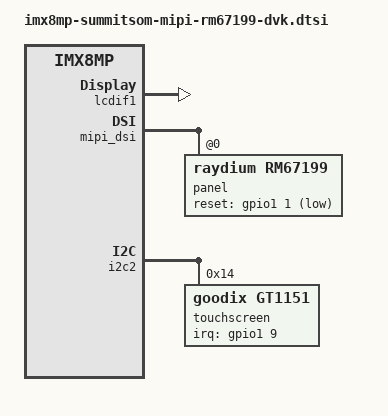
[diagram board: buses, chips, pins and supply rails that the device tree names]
// SPDX-License-Identifier: (GPL-2.0+ OR MIT)
/*
 * Copyright 2021 Laird Connectivity
 */

/* For MX8_DSI_OLED1A display */

&lcdif1 {
	status = "okay";
};

&mipi_dsi {
	status = "okay";

	panel@0 {
		compatible = "raydium,rm67199";
		reg = <0>;
		pinctrl-0 = <&pinctrl_mipi_dsi_en>;
		reset-gpio = <&gpio1 1 GPIO_ACTIVE_LOW>;
		dsi-lanes = <4>;
		video-mode = <2>;	/* 0: burst mode
					 * 1: non-burst mode with sync event
					 * 2: non-burst mode with sync pulse
					 */
		panel-width-mm = <68>;
		panel-height-mm = <121>;
		status = "okay";
	};
};

&i2c2 {
	touchscreen@14 {
		compatible = "goodix,gt1151";
		reg = <0x14>;
		pinctrl-names = "default";
		pinctrl-0 = <&pinctrl_i2c2_synaptics_dsx_io>;
		interrupt-parent = <&gpio1>;
		interrupts = <9 IRQ_TYPE_EDGE_FALLING>;
		irq-gpios = <&gpio1 9 GPIO_ACTIVE_HIGH>;
		edge-failling-trigger;
		touchscreen-size-x = <1080>;
		touchscreen-size-y = <1920>;
	};
};

&iomuxc {
	pinctrl_mipi_dsi_en: mipi_dsi_en {
		fsl,pins = <
			MX8MP_IOMUXC_GPIO1_IO01__GPIO1_IO01		0x16
		>;
	};

	pinctrl_i2c2_synaptics_dsx_io: synaptics_dsx_iogrp {
		fsl,pins = <
			MX8MP_IOMUXC_GPIO1_IO08__GPIO1_IO08		0x16
		>;
	};
};
